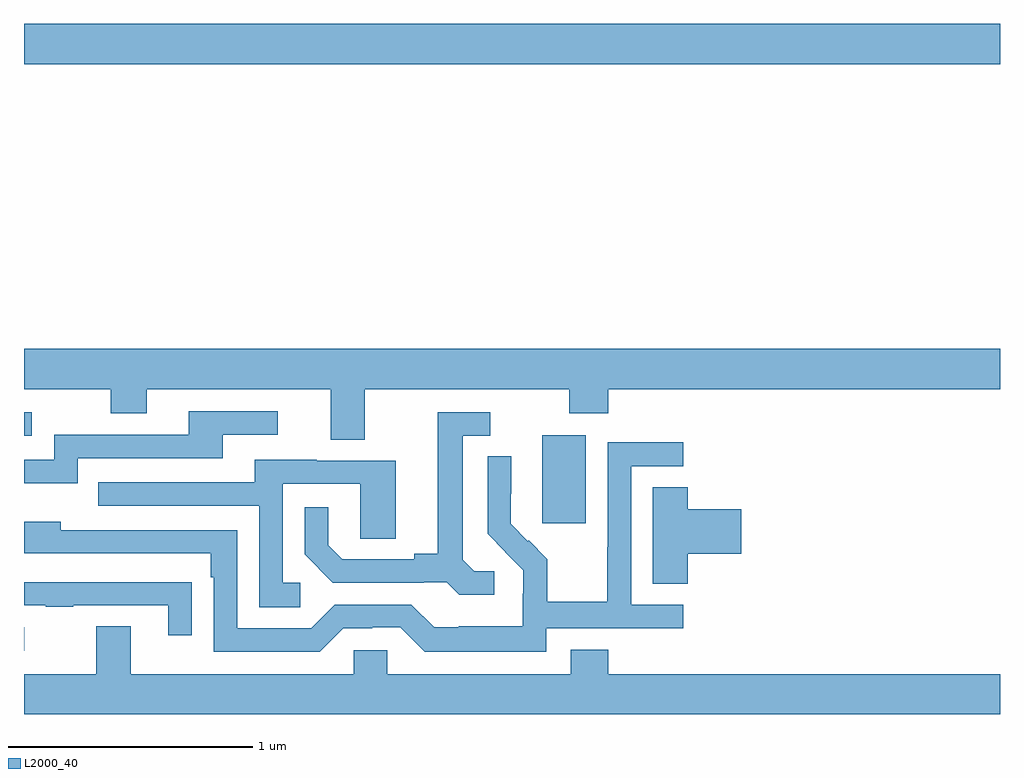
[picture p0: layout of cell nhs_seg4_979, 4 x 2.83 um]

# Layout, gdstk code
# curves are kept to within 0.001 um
import gdstk
lib = gdstk.Library(unit=1e-6, precision=1e-09)
def R(c, l, rs):  # rectangles x0, y0, x1, y1
    for r in rs: c.add(gdstk.rectangle(r[:2], r[2:], *l))
def P(c, l, *ps):  # polygons
    for p in ps: c.add(gdstk.Polygon(p, *l))
L2000_40 = (2000, 40)

nhs_seg4_979 = lib.new_cell('nhs_seg4_979')
R(nhs_seg4_979, L2000_40, [(161,799.743,161.002,799.839), (163.124,800.265,163.303,800.626), (161,800.625,161.032,800.721), (161,802.148,165,802.312)])
P(nhs_seg4_979, L2000_40, [(162.397,800.816),(163.234,800.816),(163.234,800.717),(163.394,800.717),(163.394,800.816),(165,800.816),(165,800.98),(161,800.98),(161,800.816),(161.356,800.816),(161.356,800.717),(161.503,800.717),(161.503,800.816),(162.257,800.816),(162.257,800.608),(162.397,800.608)],
  [(161.22,800.532),(161.815,800.532),(161.815,800.628),(162.04,800.628),(162.04,800.724),(161.675,800.724),(161.675,800.628),(161.124,800.628),(161.124,800.526),(161,800.526),(161,800.429),(161.22,800.429)],
  [(162.928,800.07),(162.846,800.07),(162.799,800.117),(162.799,800.625),(162.91,800.625),(162.91,800.721),(162.695,800.721),(162.695,800.141),(162.599,800.141),(162.599,800.118),(162.304,800.118),(162.247,800.175),(162.247,800.332),(162.15,800.332),(162.15,800.138),(162.266,800.022),(162.638,800.022),(162.638,800.025),(162.732,800.025),(162.784,799.973),(162.928,799.973)],
  [(163.14,799.836),(163.702,799.836),(163.702,799.932),(163.488,799.932),(163.488,800.499),(163.702,800.499),(163.702,800.598),(163.392,800.598),(163.392,800.168),(163.39,800.168),(163.39,799.945),(163.145,799.945),(163.145,800.119),(163.068,800.196),(163.065,800.193),(162.995,800.264),(162.996,800.54),(162.9,800.54),(162.9,800.222),(163.046,800.074),(163.046,799.977),(163.044,799.977),(163.044,799.843),(162.781,799.843),(162.781,799.839),(162.681,799.839),(162.588,799.932),(162.273,799.932),(162.177,799.836),(161.874,799.836),(161.874,800.238),(161.15,800.238),(161.15,800.272),(161,800.272),(161,800.142),(161.765,800.142),(161.765,800.045),(161.778,800.045),(161.778,799.74),(162.213,799.74),(162.309,799.836),(162.428,799.836),(162.428,799.839),(162.543,799.839),(162.643,799.739),(163.14,799.739)],
  [(162.133,800.022),(162.06,800.022),(162.06,800.427),(162.378,800.427),(162.378,800.203),(162.523,800.203),(162.523,800.523),(162.199,800.523),(162.199,800.527),(161.945,800.527),(161.945,800.433),(161.305,800.433),(161.305,800.337),(161.964,800.337),(161.964,799.921),(162.133,799.921)],
  [(163.721,800.141),(163.939,800.141),(163.939,800.324),(163.721,800.324),(163.721,800.414),(163.577,800.414),(163.577,800.017),(163.721,800.017)],
  [(161.687,800.024),(161.585,800.024),(161.585,800.025),(161,800.025),(161,799.929),(161.089,799.929),(161.089,799.924),(161.201,799.924),(161.201,799.929),(161.591,799.929),(161.591,799.806),(161.687,799.806)],
  [(165,799.648),(163.394,799.648),(163.394,799.747),(163.241,799.747),(163.241,799.648),(162.489,799.648),(162.489,799.746),(162.351,799.746),(162.351,799.648),(161.437,799.648),(161.437,799.843),(161.297,799.843),(161.297,799.648),(161,799.648),(161,799.484),(165,799.484)])

lib.write_gds('nhs_seg4_979.gds')
